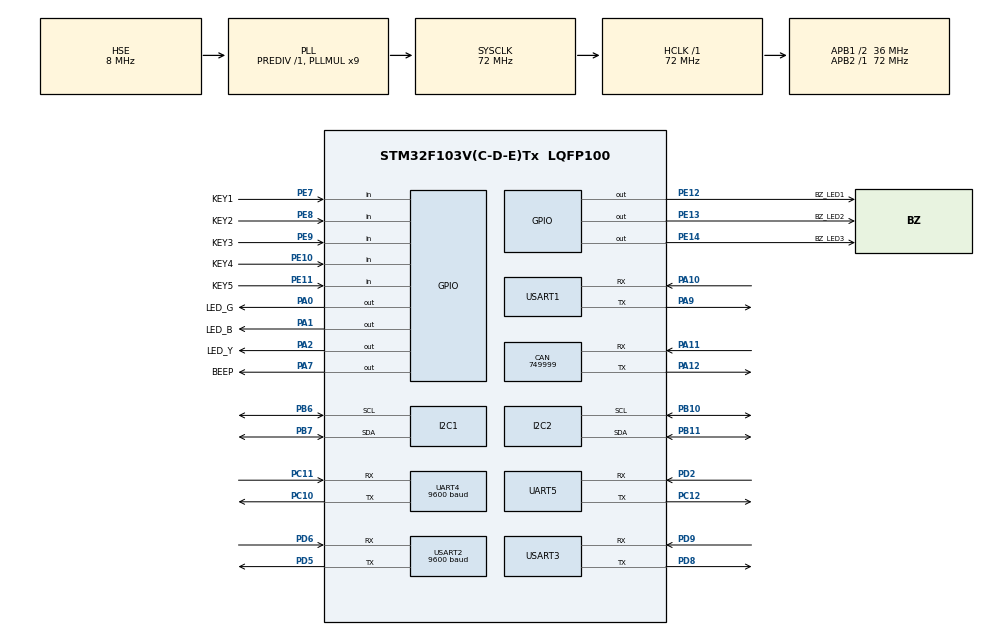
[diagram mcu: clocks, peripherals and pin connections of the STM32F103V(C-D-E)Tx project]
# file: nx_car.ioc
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CAN.CalculateBaudRate=749999
CAN.CalculateTimeBit=1333
CAN.CalculateTimeQuantum=444.44444444444446
Mcu.Family=STM32F1
Mcu.Name=STM32F103V(C-D-E)Tx
Mcu.Package=LQFP100
NVIC.PriorityGroup=NVIC_PRIORITYGROUP_4
NVIC.UART4_IRQn=true\:0\:0\:false\:false\:true\:true\:true\:true
NVIC.UART5_IRQn=true\:0\:0\:false\:false\:true\:true\:true\:true
NVIC.USART1_IRQn=true\:0\:0\:false\:false\:true\:true\:true\:true
NVIC.USART2_IRQn=true\:0\:0\:false\:false\:true\:true\:true\:true
NVIC.USART3_IRQn=true\:0\:0\:false\:false\:true\:true\:true\:true
OSC_IN.Mode=HSE-External-Oscillator
OSC_IN.Signal=RCC_OSC_IN
OSC_OUT.Mode=HSE-External-Oscillator
OSC_OUT.Signal=RCC_OSC_OUT
PA0-WKUP.GPIO_Label=LED_G
PA0-WKUP.Signal=GPIO_Output
PA1.GPIO_Label=LED_B
PA1.Signal=GPIO_Output
PA10.Mode=Asynchronous
PA10.Signal=USART1_RX
PA11.Mode=CAN_Activate
PA11.Signal=CAN_RX
PA12.Mode=CAN_Activate
PA12.Signal=CAN_TX
PA13.Mode=Serial_Wire
PA13.Signal=SYS_JTMS-SWDIO
PA14.Mode=Serial_Wire
PA14.Signal=SYS_JTCK-SWCLK
PA2.GPIO_Label=LED_Y
PA2.Signal=GPIO_Output
PA7.GPIO_Label=BEEP
PA7.Signal=GPIO_Output
PA9.Mode=Asynchronous
PA9.Signal=USART1_TX
PB10.Mode=I2C
PB10.Signal=I2C2_SCL
PB11.Mode=I2C
PB11.Signal=I2C2_SDA
PB6.Mode=I2C
PB6.Signal=I2C1_SCL
PB7.Mode=I2C
PB7.Signal=I2C1_SDA
PC10.Mode=Asynchronous
PC10.Signal=UART4_TX
PC11.Mode=Asynchronous
PC11.Signal=UART4_RX
PC12.Mode=Asynchronous
PC12.Signal=UART5_TX
PC14-OSC32_IN.Mode=LSE-External-Oscillator
PC14-OSC32_IN.Signal=RCC_OSC32_IN
PC15-OSC32_OUT.Mode=LSE-External-Oscillator
PC15-OSC32_OUT.Signal=RCC_OSC32_OUT
PD2.Mode=Asynchronous
PD2.Signal=UART5_RX
PD5.Mode=Asynchronous
PD5.Signal=USART2_TX
PD6.Mode=Asynchronous
PD6.Signal=USART2_RX
PD8.Mode=Asynchronous
PD8.Signal=USART3_TX
PD9.Mode=Asynchronous
PD9.Signal=USART3_RX
PE10.GPIO_Label=KEY4
PE10.Signal=GPIO_Input
PE11.GPIO_Label=KEY5
PE11.Signal=GPIO_Input
PE12.GPIO_Label=BZ_LED1
PE12.Signal=GPIO_Output
PE13.GPIO_Label=BZ_LED2
PE13.Signal=GPIO_Output
PE14.GPIO_Label=BZ_LED3
PE14.Signal=GPIO_Output
PE7.GPIO_Label=KEY1
PE7.Signal=GPIO_Input
PE8.GPIO_Label=KEY2
PE8.Signal=GPIO_Input
PE9.GPIO_Label=KEY3
PE9.Signal=GPIO_Input
ProjectManager.HeapSize=0x200
ProjectManager.StackSize=0x400
ProjectManager.TargetToolchain=MDK-ARM V5.32
RCC.AHBFreq_Value=72000000
RCC.APB1CLKDivider=RCC_HCLK_DIV2
RCC.APB1Freq_Value=36000000
RCC.APB1TimFreq_Value=72000000
RCC.APB2Freq_Value=72000000
RCC.APB2TimFreq_Value=72000000
RCC.HCLKFreq_Value=72000000
RCC.PLLMUL=RCC_PLL_MUL9
RCC.PLLSourceVirtual=RCC_PLLSOURCE_HSE
RCC.SYSCLKFreq_VALUE=72000000
RCC.SYSCLKSource=RCC_SYSCLKSOURCE_PLLCLK
RCC.USBFreq_Value=72000000
UART4.BaudRate=9600
UART4.VirtualMode=Asynchronous
UART5.VirtualMode=Asynchronous
USART1.VirtualMode=VM_ASYNC
USART2.BaudRate=9600
USART2.VirtualMode=VM_ASYNC
USART3.VirtualMode=VM_ASYNC
board=custom

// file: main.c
/* USER CODE BEGIN Header */
/**
  ******************************************************************************
  * @file           : main.c
  * @brief          : Main program body
  ******************************************************************************
  * @attention
  *
  * Copyright (c) 2026 STMicroelectronics.
  * All rights reserved.
  *
  * This software is licensed under terms that can be found in the LICENSE file
  * in the root directory of this software component.
  * If no LICENSE file comes with this software, it is provided AS-IS.
  *
  ******************************************************************************
  */
/* USER CODE END Header */
#include "main.h"
#include "can.h"
#include "i2c.h"
#include "usart.h"
#include "gpio.h"

/* USER CODE BEGIN Includes */
#include "bsp_Emm_V5.h"
#include "hwt101ct.h"
#include "oled.h"
#include "bsp_debug.h"
#include "bsp_oled_ui.h"
#include "bsp_key.h"
#include <stdio.h>
#include <string.h>
/* USER CODE END Includes */

void SystemClock_Config(void);

int main(void)
{

  /* MCU Configuration--------------------------------------------------------*/

  /* Reset of all peripherals, Initializes the Flash interface and the Systick. */
  HAL_Init();

  /* Configure the system clock */
  SystemClock_Config();

  /* Initialize all configured peripherals */
  MX_GPIO_Init();
  MX_CAN_Init();
  MX_USART1_UART_Init();
  MX_USART2_UART_Init();
  MX_USART3_UART_Init();
  MX_I2C1_Init();
  MX_I2C2_Init();
  MX_UART4_Init();
  MX_UART5_Init();
  /* USER CODE BEGIN 2 */
  /* 调试系统初始化：熄灭 LED、上电蜂鸣、记录起始节拍 */
  BSP_Debug_Init();

  /* 上电横幅：项目名、编译时间、系统时钟频率 */
  printf("\r\n========================================\r\n");
  printf("  nx_car 智能搬运机器人\r\n");
  printf("  Build: %s %s\r\n", __DATE__, __TIME__);
  printf("  SYSCLK: %lu MHz\r\n", (unsigned long)(HAL_RCC_GetSysClockFreq() / 1000000UL));
  printf("========================================\r\n");
  Debug_Log("SYS", "boot done, enter main loop");

  /* OLED 显示系统初始化（检测在线+开机页） */
  Display_Init();
  /* 按键初始化（GPIO 已由 CubeMX 配置为上拉输入） */
  Key_Init();
  /* USER CODE END 2 */

  /* Infinite loop */
  while (1)
  {

    /* USER CODE BEGIN 3 */
    /* LED 流水（非阻塞，每 LED_FLOW_PERIOD_MS 切换） */
    BSP_LED_Flow_Update();
    /* 心跳日志（非阻塞，每 HEARTBEAT_PERIOD_MS 输出） */
    BSP_Heartbeat_Update();
    /* OLED display task (non-blocking refresh + cycle) */
    Display_Task();
    /* 按键扫描：KEY1=下一页，KEY2=上一页，手动切页关闭轮播 */
    {
        KeyID_t key = Key_Scan();
        if (key != KEY_NONE)
        {
            if (key == KEY1) { Display_PageNext(); }
            else if (key == KEY2) { Display_PagePrev(); }
            Debug_Log("KEY", "id=%u event=short", (unsigned int)key);
        }
        KeyID_t lp = Key_GetLongPress();
        if (lp != KEY_NONE)
        {
            Debug_Log("KEY", "id=%u event=long", (unsigned int)lp);
        }
    }
	}
  /* USER CODE END 3 */
}

void SystemClock_Config(void)
{
  RCC_OscInitTypeDef RCC_OscInitStruct = {0};
  RCC_ClkInitTypeDef RCC_ClkInitStruct = {0};

  /** Initializes the RCC Oscillators according to the specified parameters
  * in the RCC_OscInitTypeDef structure.
  */
  RCC_OscInitStruct.OscillatorType = RCC_OSCILLATORTYPE_HSE;
  RCC_OscInitStruct.HSEState = RCC_HSE_ON;
  RCC_OscInitStruct.HSEPredivValue = RCC_HSE_PREDIV_DIV1;
  RCC_OscInitStruct.HSIState = RCC_HSI_ON;
  RCC_OscInitStruct.PLL.PLLState = RCC_PLL_ON;
  RCC_OscInitStruct.PLL.PLLSource = RCC_PLLSOURCE_HSE;
  RCC_OscInitStruct.PLL.PLLMUL = RCC_PLL_MUL9;
  if (HAL_RCC_OscConfig(&RCC_OscInitStruct) != HAL_OK)
  {
    Error_Handler();
  }

  /** Initializes the CPU, AHB and APB buses clocks
  */
  RCC_ClkInitStruct.ClockType = RCC_CLOCKTYPE_HCLK|RCC_CLOCKTYPE_SYSCLK
                              |RCC_CLOCKTYPE_PCLK1|RCC_CLOCKTYPE_PCLK2;
  RCC_ClkInitStruct.SYSCLKSource = RCC_SYSCLKSOURCE_PLLCLK;
  RCC_ClkInitStruct.AHBCLKDivider = RCC_SYSCLK_DIV1;
  RCC_ClkInitStruct.APB1CLKDivider = RCC_HCLK_DIV2;
  RCC_ClkInitStruct.APB2CLKDivider = RCC_HCLK_DIV1;

  if (HAL_RCC_ClockConfig(&RCC_ClkInitStruct, FLASH_LATENCY_2) != HAL_OK)
  {
    Error_Handler();
  }
}

void Error_Handler(void)
{
  __disable_irq();
  while (1)
  {
  }
}
